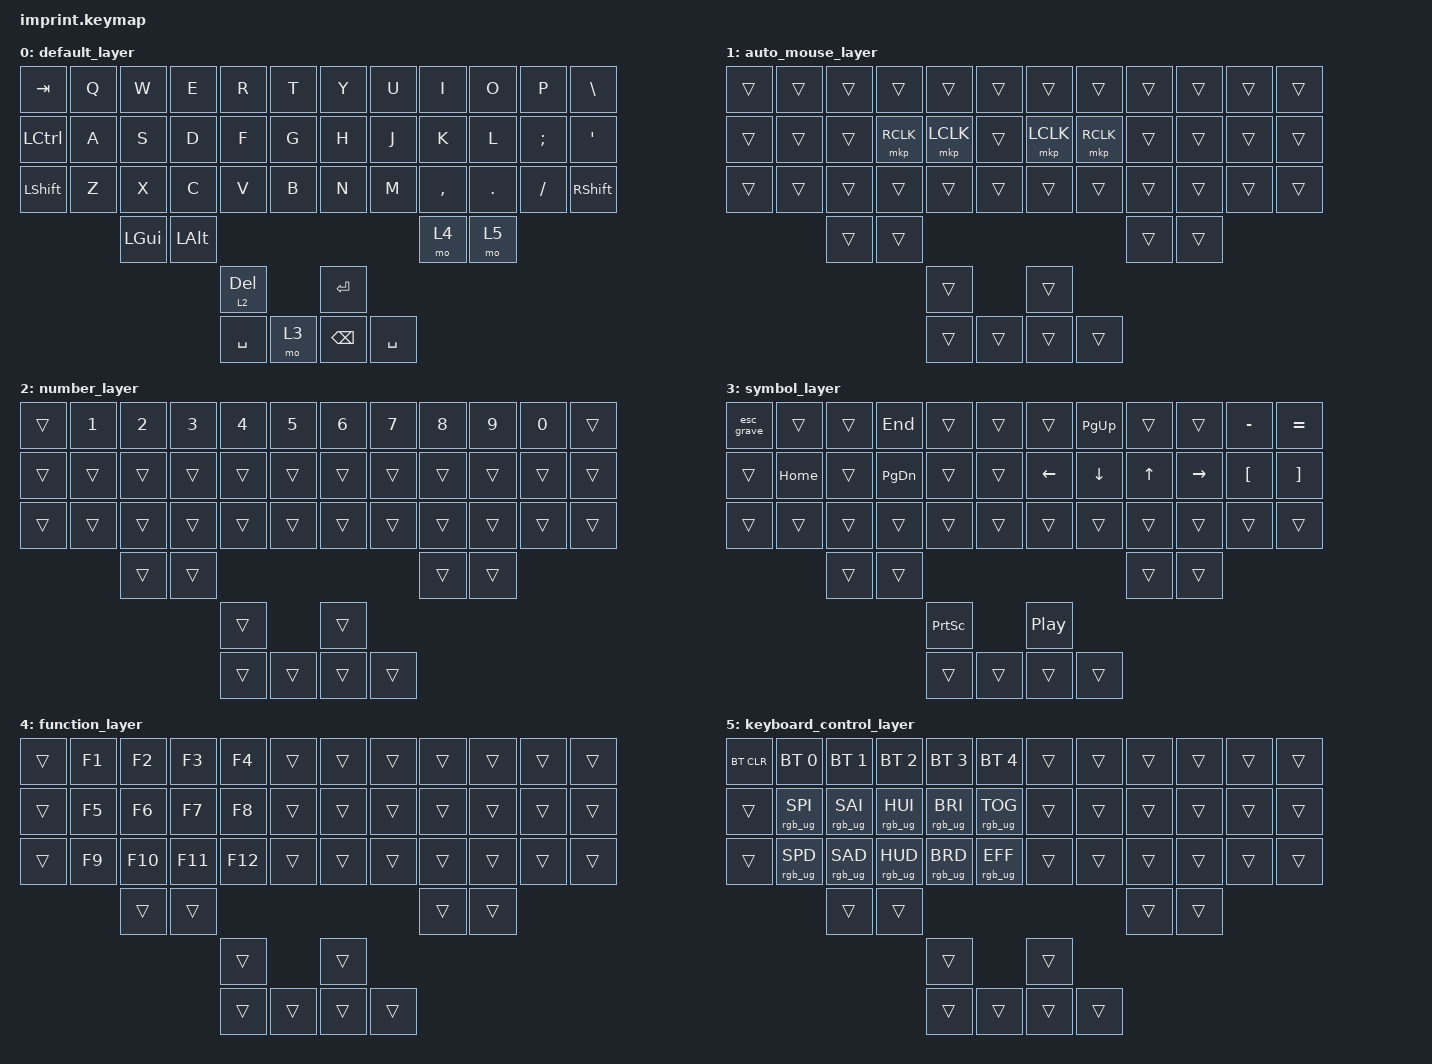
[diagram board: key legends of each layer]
#include <input/processors.dtsi>
#include <dt-bindings/zmk/input_transform.h>
#include <dt-bindings/zmk/matrix_transform.h>
#include <behaviors.dtsi>
#include <dt-bindings/zmk/bt.h>
#include <dt-bindings/zmk/keys.h>
#include <dt-bindings/zmk/pointing.h>
#include <dt-bindings/zmk/rgb.h>

#define RC_(row, col) (((row) << 8) + (col))

/ {
    chosen { zmk,matrix-transform = &imprint_function_row; };

    behaviors {
        esc_grave: esc_grave {
            compatible = "zmk,behavior-tap-dance";
            label = "ESC_GRAVE";
            #binding-cells = <0>;
            bindings = <&kp ESC>, <&kp GRAVE>;
        };
    };

    keymap {
        compatible = "zmk,keymap";

        default_layer {
            bindings = <
&kp TAB    &kp Q  &kp W     &kp E     &kp R      &kp T      &kp Y          &kp U      &kp I      &kp O    &kp P     &kp BSLH
&kp LCTRL  &kp A  &kp S     &kp D     &kp F      &kp G      &kp H          &kp J      &kp K      &kp L    &kp SEMI  &kp SQT
&kp LSHFT  &kp Z  &kp X     &kp C     &kp V      &kp B      &kp N          &kp M      &kp COMMA  &kp DOT  &kp FSLH  &kp RSHFT
                  &kp LGUI  &kp LALT                                                  &mo 4      &mo 5
                                      &lt 2 DEL             &kp ENTER
                                      &kp SPACE  &mo 3      &kp BACKSPACE  &kp SPACE
            >;
        };

        auto_mouse_layer {
            bindings = <
&trans  &trans  &trans  &trans     &trans     &trans      &trans     &trans     &trans  &trans  &trans  &trans
&trans  &trans  &trans  &mkp RCLK  &mkp LCLK  &trans      &mkp LCLK  &mkp RCLK  &trans  &trans  &trans  &trans
&trans  &trans  &trans  &trans     &trans     &trans      &trans     &trans     &trans  &trans  &trans  &trans
                &trans  &trans                                                  &trans  &trans
                                   &trans                 &trans
                                   &trans     &trans      &trans     &trans
            >;
        };

        number_layer {
            bindings = <
&trans  &kp N1  &kp N2  &kp N3  &kp N4  &kp N5      &kp N6  &kp N7  &kp N8  &kp N9  &kp N0  &trans
&trans  &trans  &trans  &trans  &trans  &trans      &trans  &trans  &trans  &trans  &trans  &trans
&trans  &trans  &trans  &trans  &trans  &trans      &trans  &trans  &trans  &trans  &trans  &trans
                &trans  &trans                                      &trans  &trans
                                &trans              &trans
                                &trans  &trans      &trans  &trans
            >;
        };

        symbol_layer {
            bindings = <
&esc_grave  &trans    &trans  &kp END    &trans     &trans      &trans    &kp PG_UP  &trans  &trans     &kp MINUS  &kp EQUAL
&trans      &kp HOME  &trans  &kp PG_DN  &trans     &trans      &kp LEFT  &kp DOWN   &kp UP  &kp RIGHT  &kp LBKT   &kp RBKT
&trans      &trans    &trans  &trans     &trans     &trans      &trans    &trans     &trans  &trans     &trans     &trans
                      &trans  &trans                                                 &trans  &trans
                                         &kp PSCRN              &kp C_PP
                                         &trans     &trans      &trans    &trans
            >;
        };

        function_layer {
            bindings = <
&trans  &kp F1  &kp F2   &kp F3   &kp F4   &trans      &trans  &trans  &trans  &trans  &trans  &trans
&trans  &kp F5  &kp F6   &kp F7   &kp F8   &trans      &trans  &trans  &trans  &trans  &trans  &trans
&trans  &kp F9  &kp F10  &kp F11  &kp F12  &trans      &trans  &trans  &trans  &trans  &trans  &trans
                &trans   &trans                                        &trans  &trans
                                  &trans               &trans
                                  &trans   &trans      &trans  &trans
            >;
        };

        keyboard_control_layer {
            bindings = <
&bt BT_CLR  &bt BT_SEL 0     &bt BT_SEL 1     &bt BT_SEL 2     &bt BT_SEL 3     &bt BT_SEL 4         &trans  &trans  &trans  &trans  &trans  &trans
&trans      &rgb_ug RGB_SPI  &rgb_ug RGB_SAI  &rgb_ug RGB_HUI  &rgb_ug RGB_BRI  &rgb_ug RGB_TOG      &trans  &trans  &trans  &trans  &trans  &trans
&trans      &rgb_ug RGB_SPD  &rgb_ug RGB_SAD  &rgb_ug RGB_HUD  &rgb_ug RGB_BRD  &rgb_ug RGB_EFF      &trans  &trans  &trans  &trans  &trans  &trans
                             &trans           &trans                                                                 &trans  &trans
                                                               &trans                                &trans
                                                               &trans           &trans               &trans  &trans
            >;
        };
    };
};

// right hand trackball configuration
&trackball_peripheral_listener {
    input-processors =
        <&zip_temp_layer 1 300>;

    scroller {
        layers = <3>;
        input-processors =
            <&zip_xy_scaler 1 5>,
            <&zip_xy_to_scroll_mapper>,
            <&zip_scroll_transform INPUT_TRANSFORM_Y_INVERT>;
    };
};

&imprint_function_row {
    columns = <8>;
    rows = <12>;
    map = <
        RC_(4,5) RC_(4,4) RC_(4,3) RC_(4,2) RC_(4,1) RC_(4,0)                           RC_(11,0) RC_(11,1) RC_(11,2) RC_(11,3) RC_(11,4) RC_(11,5)
        RC_(3,5) RC_(3,4) RC_(3,3) RC_(3,2) RC_(3,1) RC_(3,0)                           RC_(10,0) RC_(10,1) RC_(10,2) RC_(10,3) RC_(10,4) RC_(10,5)
        RC_(2,5) RC_(2,4) RC_(2,3) RC_(2,2) RC_(2,1) RC_(2,0)                           RC_(9,0)  RC_(9,1)  RC_(9,2)  RC_(9,3)  RC_(9,4)  RC_(9,5)
                          RC_(1,3) RC_(1,2)                                                                 RC_(8,2)  RC_(8,3)
                                                     RC_(0,7)                           RC_(7,7)
                                            RC_(0,3) RC_(0,2)                           RC_(7,2) RC_(7,3)
    >;
};
